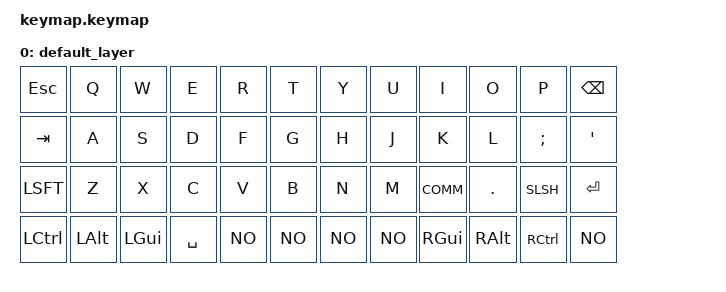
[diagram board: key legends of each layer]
#include <behaviors.dtsi>
#include <dt-bindings/zmk/keys.h>

 / {
    keymap {
        compatible = "zmk,keymap";
        default_layer {
            bindings = <
                &kp ESC &kp Q &kp W &kp E &kp R &kp T   &kp Y &kp U &kp I &kp O &kp P &kp BSPC
                &kp TAB &kp A &kp S &kp D &kp F &kp G   &kp H &kp J &kp K &kp L &kp SCLN &kp QUOT
                &kp LSFT &kp Z &kp X &kp C &kp V &kp B   &kp N &kp M &kp COMM &kp DOT &kp SLSH &kp RET
                &kp LCTL &kp LALT &kp LGUI &kp SPC &kp NO &kp NO   &kp NO &kp NO &kp RGUI &kp RALT &kp RCTL &kp NO
            >;
        };
    };
};
